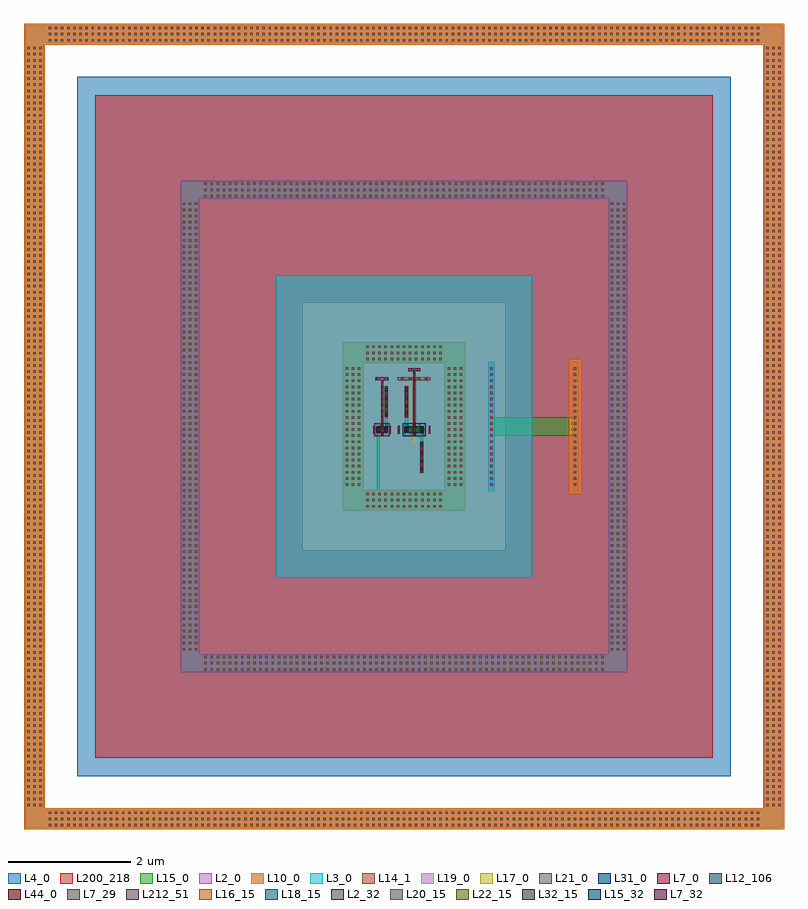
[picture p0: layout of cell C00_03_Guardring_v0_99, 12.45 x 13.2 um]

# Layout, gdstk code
import gdstk
lib = gdstk.Library(unit=1e-6, precision=1e-09)
def R(c, l, rs):  # rectangles x0, y0, x1, y1
    for r in rs: c.add(gdstk.rectangle(r[:2], r[2:], *l))
def A(c, l, x, y, w, h, nx, ny, dx, dy):  # array of equal rectangles
    R(c, l, [(x+i*dx, y+j*dy, x+i*dx+w, y+j*dy+h) for i in range(nx) for j in range(ny)])
L2_0 = (2, 0)
L2_32 = (2, 32)
L3_0 = (3, 0)
L4_0 = (4, 0)
L7_0 = (7, 0)
L7_29 = (7, 29)
L7_32 = (7, 32)
L10_0 = (10, 0)
L12_106 = (12, 106)
L14_1 = (14, 1)
L15_0 = (15, 0)
L15_32 = (15, 32)
L16_15 = (16, 15)
L17_0 = (17, 0)
L18_15 = (18, 15)
L19_0 = (19, 0)
L20_15 = (20, 15)
L21_0 = (21, 0)
L22_15 = (22, 15)
L31_0 = (31, 0)
L32_15 = (32, 15)
L44_0 = (44, 0)
L200_218 = (200, 218)
L212_51 = (212, 51)

c00_03_guardring_v0_99_s = lib.new_cell('C00_03_Guardring_v0_99:SRF_Tr1Tr2:SRF_Tr1:SRF_Nmos')
R(c00_03_guardring_v0_99_s, L2_0, [(-0.139,0.057,0.169,0.157)])
R(c00_03_guardring_v0_99_s, L2_32, [(-0.139,0.057,0,0.157), (0.03,0.057,0.169,0.157)])
R(c00_03_guardring_v0_99_s, L7_0, [(0,0,0.03,0.214), (-0.252,0.041,-0.222,0.173), (0.252,0.041,0.282,0.173)])
R(c00_03_guardring_v0_99_s, L7_29, [(-0.144,0.052,0.174,0.162)])
R(c00_03_guardring_v0_99_s, L7_32, [(0,0,0.03,0.057), (0,0.157,0.03,0.214)])
R(c00_03_guardring_v0_99_s, L12_106, [(-0.174,0.001,0.204,0.213)])
R(c00_03_guardring_v0_99_s, L14_1, [(-0.131,0.087,-0.091,0.127), (0.121,0.087,0.161,0.127)])
R(c00_03_guardring_v0_99_s, L15_0, [(-0.136,0.066,-0.086,0.148), (-0.136,0.066,-0.086,0.148), (0.116,0.066,0.166,0.148), (0.116,0.066,0.166,0.148)])
R(c00_03_guardring_v0_99_s, L15_32, [(-0.136,0.066,-0.086,0.148), (0.116,0.066,0.166,0.148)])

c_c00_03_guardring_v0_99_s = lib.new_cell('C00_03_Guardring_v0_99:SRF_Tr1Tr2:SRF_Tr1:SRF_Tr1_Source_ViaM1Mx:SRF_ViaM1M2')
R(c_c00_03_guardring_v0_99_s, L15_0, [(0,-0.422,0.05,0.082)])
A(c_c00_03_guardring_v0_99_s, L16_15, 0, -0.39, 0.05, 0.05, 1, 4, 0, 0.13)
R(c_c00_03_guardring_v0_99_s, L17_0, [(0,-0.422,0.05,0.082)])

c_c00_03_guardring_v0_99_s_ = lib.new_cell('C00_03_Guardring_v0_99:SRF_Tr1Tr2:SRF_Tr1:SRF_Tr1_Source_ViaM1Mx:SRF_ViaM2M3')
R(c_c00_03_guardring_v0_99_s_, L17_0, [(0,-0.422,0.05,0.082)])
A(c_c00_03_guardring_v0_99_s_, L18_15, 0, -0.39, 0.05, 0.05, 1, 4, 0, 0.13)
R(c_c00_03_guardring_v0_99_s_, L19_0, [(0,-0.422,0.05,0.082)])

c_c00_03_guardring_v0_99_s__ = lib.new_cell('C00_03_Guardring_v0_99:SRF_Tr1Tr2:SRF_Tr1:SRF_Tr1_Source_ViaM1Mx:SRF_ViaM3M4')
R(c_c00_03_guardring_v0_99_s__, L19_0, [(0,-0.422,0.05,0.082)])
A(c_c00_03_guardring_v0_99_s__, L20_15, 0, -0.39, 0.05, 0.05, 1, 4, 0, 0.13)
R(c_c00_03_guardring_v0_99_s__, L21_0, [(0,-0.422,0.05,0.082)])

c_c00_03_guardring_v0_99_s___ = lib.new_cell('C00_03_Guardring_v0_99:SRF_Tr1Tr2:SRF_Tr1:SRF_Tr1_Source_ViaM1Mx:SRF_ViaM4M5')
R(c_c00_03_guardring_v0_99_s___, L21_0, [(0,-0.422,0.05,0.082)])
A(c_c00_03_guardring_v0_99_s___, L22_15, 0, -0.39, 0.05, 0.05, 1, 4, 0, 0.13)
R(c_c00_03_guardring_v0_99_s___, L31_0, [(0,-0.422,0.05,0.082)])

c_c00_03_guardring_v0_99_s____ = lib.new_cell('C00_03_Guardring_v0_99:SRF_Tr1Tr2:SRF_Tr1:SRF_Tr1_Source_ViaM1Mx:SRF_ViaM5M6')
R(c_c00_03_guardring_v0_99_s____, L31_0, [(0,-0.422,0.05,0.082)])
A(c_c00_03_guardring_v0_99_s____, L32_15, 0, -0.39, 0.05, 0.05, 1, 4, 0, 0.13)
R(c_c00_03_guardring_v0_99_s____, L44_0, [(0,-0.422,0.05,0.082)])

c_c00_03_guardring_v0_99_s_____ = lib.new_cell('C00_03_Guardring_v0_99:SRF_Tr1Tr2:SRF_Tr1:SRF_Tr1_Source_ViaM1Mx')
c_c00_03_guardring_v0_99_s_____.add(gdstk.Reference(c_c00_03_guardring_v0_99_s, (-0.025,0.17)))
c_c00_03_guardring_v0_99_s_____.add(gdstk.Reference(c_c00_03_guardring_v0_99_s_, (-0.025,0.17)))
c_c00_03_guardring_v0_99_s_____.add(gdstk.Reference(c_c00_03_guardring_v0_99_s__, (-0.025,0.17)))
c_c00_03_guardring_v0_99_s_____.add(gdstk.Reference(c_c00_03_guardring_v0_99_s___, (-0.025,0.17)))
c_c00_03_guardring_v0_99_s_____.add(gdstk.Reference(c_c00_03_guardring_v0_99_s____, (-0.025,0.17)))

c_c00_03_guardring_v0_99_s______ = lib.new_cell('C00_03_Guardring_v0_99:SRF_Tr1Tr2:SRF_Tr1:SRF_Ground_ViaM1Mx:SRF_ViaM1M2')
R(c_c00_03_guardring_v0_99_s______, L15_0, [(-0.032,0,0.472,0.05)])
A(c_c00_03_guardring_v0_99_s______, L16_15, 0, 0, 0.05, 0.05, 4, 1, 0.13, 0)
R(c_c00_03_guardring_v0_99_s______, L17_0, [(-0.032,0,0.472,0.05)])

c_c00_03_guardring_v0_99_s_______ = lib.new_cell('C00_03_Guardring_v0_99:SRF_Tr1Tr2:SRF_Tr1:SRF_Ground_ViaM1Mx:SRF_ViaM2M3')
R(c_c00_03_guardring_v0_99_s_______, L17_0, [(-0.032,0,0.472,0.05)])
A(c_c00_03_guardring_v0_99_s_______, L18_15, 0, 0, 0.05, 0.05, 4, 1, 0.13, 0)
R(c_c00_03_guardring_v0_99_s_______, L19_0, [(-0.032,0,0.472,0.05)])

c_c00_03_guardring_v0_99_s________ = lib.new_cell('C00_03_Guardring_v0_99:SRF_Tr1Tr2:SRF_Tr1:SRF_Ground_ViaM1Mx:SRF_ViaM3M4')
R(c_c00_03_guardring_v0_99_s________, L19_0, [(-0.032,0,0.472,0.05)])
A(c_c00_03_guardring_v0_99_s________, L20_15, 0, 0, 0.05, 0.05, 4, 1, 0.13, 0)
R(c_c00_03_guardring_v0_99_s________, L21_0, [(-0.032,0,0.472,0.05)])

c_c00_03_guardring_v0_99_s_________ = lib.new_cell('C00_03_Guardring_v0_99:SRF_Tr1Tr2:SRF_Tr1:SRF_Ground_ViaM1Mx')
c_c00_03_guardring_v0_99_s_________.add(gdstk.Reference(c_c00_03_guardring_v0_99_s______, (-0.22,-0.025)))
c_c00_03_guardring_v0_99_s_________.add(gdstk.Reference(c_c00_03_guardring_v0_99_s_______, (-0.22,-0.025)))
c_c00_03_guardring_v0_99_s_________.add(gdstk.Reference(c_c00_03_guardring_v0_99_s________, (-0.22,-0.025)))

c_c00_03_guardring_v0_99_s__________ = lib.new_cell('C00_03_Guardring_v0_99:SRF_Tr1Tr2:SRF_Tr1:SRF_Gate_ViaM0M3:SRF_ViaM0M1')
R(c_c00_03_guardring_v0_99_s__________, L7_0, [(-0.01,-0.004,0.05,0.044)])
R(c_c00_03_guardring_v0_99_s__________, L14_1, [(0,0,0.04,0.04)])
R(c_c00_03_guardring_v0_99_s__________, L15_0, [(-0.021,-0.005,0.061,0.045)])

c_c00_03_guardring_v0_99_s___________ = lib.new_cell('C00_03_Guardring_v0_99:SRF_Tr1Tr2:SRF_Tr1:SRF_Gate_ViaM0M3:SRF_ViaM1M2')
R(c_c00_03_guardring_v0_99_s___________, L15_0, [(-0.032,0,0.082,0.05)])
R(c_c00_03_guardring_v0_99_s___________, L16_15, [(0,0,0.05,0.05)])
R(c_c00_03_guardring_v0_99_s___________, L17_0, [(-0.032,0,0.082,0.05)])

c_c00_03_guardring_v0_99_s____________ = lib.new_cell('C00_03_Guardring_v0_99:SRF_Tr1Tr2:SRF_Tr1:SRF_Gate_ViaM0M3:SRF_ViaM2M3')
R(c_c00_03_guardring_v0_99_s____________, L17_0, [(-0.032,0,0.082,0.05)])
R(c_c00_03_guardring_v0_99_s____________, L18_15, [(0,0,0.05,0.05)])
R(c_c00_03_guardring_v0_99_s____________, L19_0, [(-0.032,0,0.082,0.05)])

c_c00_03_guardring_v0_99_s_____________ = lib.new_cell('C00_03_Guardring_v0_99:SRF_Tr1Tr2:SRF_Tr1:SRF_Gate_ViaM0M3')
c_c00_03_guardring_v0_99_s_____________.add(gdstk.Reference(c_c00_03_guardring_v0_99_s__________, (-0.02,-0.02)))
c_c00_03_guardring_v0_99_s_____________.add(gdstk.Reference(c_c00_03_guardring_v0_99_s___________, (-0.025,-0.025)))
c_c00_03_guardring_v0_99_s_____________.add(gdstk.Reference(c_c00_03_guardring_v0_99_s____________, (-0.025,-0.025)))

c_c00_03_guardring_v0_99_s______________ = lib.new_cell('C00_03_Guardring_v0_99:SRF_Tr1Tr2:SRF_Tr1:SRF_Tr1_Drain_ViaM1Mx:SRF_ViaM1M2')
R(c_c00_03_guardring_v0_99_s______________, L15_0, [(0,-0.422,0.05,0.082)])
A(c_c00_03_guardring_v0_99_s______________, L16_15, 0, -0.39, 0.05, 0.05, 1, 4, 0, 0.13)
R(c_c00_03_guardring_v0_99_s______________, L17_0, [(0,-0.422,0.05,0.082)])

c_c00_03_guardring_v0_99_s_______________ = lib.new_cell('C00_03_Guardring_v0_99:SRF_Tr1Tr2:SRF_Tr1:SRF_Tr1_Drain_ViaM1Mx:SRF_ViaM2M3')
R(c_c00_03_guardring_v0_99_s_______________, L17_0, [(0,-0.422,0.05,0.082)])
A(c_c00_03_guardring_v0_99_s_______________, L18_15, 0, -0.39, 0.05, 0.05, 1, 4, 0, 0.13)
R(c_c00_03_guardring_v0_99_s_______________, L19_0, [(0,-0.422,0.05,0.082)])

c_c00_03_guardring_v0_99_s________________ = lib.new_cell('C00_03_Guardring_v0_99:SRF_Tr1Tr2:SRF_Tr1:SRF_Tr1_Drain_ViaM1Mx:SRF_ViaM3M4')
R(c_c00_03_guardring_v0_99_s________________, L19_0, [(0,-0.422,0.05,0.082)])
A(c_c00_03_guardring_v0_99_s________________, L20_15, 0, -0.39, 0.05, 0.05, 1, 4, 0, 0.13)
R(c_c00_03_guardring_v0_99_s________________, L21_0, [(0,-0.422,0.05,0.082)])

c_c00_03_guardring_v0_99_s_________________ = lib.new_cell('C00_03_Guardring_v0_99:SRF_Tr1Tr2:SRF_Tr1:SRF_Tr1_Drain_ViaM1Mx:SRF_ViaM4M5')
R(c_c00_03_guardring_v0_99_s_________________, L21_0, [(0,-0.422,0.05,0.082)])
A(c_c00_03_guardring_v0_99_s_________________, L22_15, 0, -0.39, 0.05, 0.05, 1, 4, 0, 0.13)
R(c_c00_03_guardring_v0_99_s_________________, L31_0, [(0,-0.422,0.05,0.082)])

c_c00_03_guardring_v0_99_s__________________ = lib.new_cell('C00_03_Guardring_v0_99:SRF_Tr1Tr2:SRF_Tr1:SRF_Tr1_Drain_ViaM1Mx:SRF_ViaM5M6')
R(c_c00_03_guardring_v0_99_s__________________, L31_0, [(0,-0.422,0.05,0.082)])
A(c_c00_03_guardring_v0_99_s__________________, L32_15, 0, -0.39, 0.05, 0.05, 1, 4, 0, 0.13)
R(c_c00_03_guardring_v0_99_s__________________, L44_0, [(0,-0.422,0.05,0.082)])

c_c00_03_guardring_v0_99_s___________________ = lib.new_cell('C00_03_Guardring_v0_99:SRF_Tr1Tr2:SRF_Tr1:SRF_Tr1_Drain_ViaM1Mx')
c_c00_03_guardring_v0_99_s___________________.add(gdstk.Reference(c_c00_03_guardring_v0_99_s______________, (-0.025,0.17)))
c_c00_03_guardring_v0_99_s___________________.add(gdstk.Reference(c_c00_03_guardring_v0_99_s_______________, (-0.025,0.17)))
c_c00_03_guardring_v0_99_s___________________.add(gdstk.Reference(c_c00_03_guardring_v0_99_s________________, (-0.025,0.17)))
c_c00_03_guardring_v0_99_s___________________.add(gdstk.Reference(c_c00_03_guardring_v0_99_s_________________, (-0.025,0.17)))
c_c00_03_guardring_v0_99_s___________________.add(gdstk.Reference(c_c00_03_guardring_v0_99_s__________________, (-0.025,0.17)))

c_c00_03_guardring_v0_99_s____________________ = lib.new_cell('C00_03_Guardring_v0_99:SRF_Tr1Tr2:SRF_Tr1')
R(c_c00_03_guardring_v0_99_s____________________, L7_0, [(0,0.214,0.03,1.064), (-0.085,1.064,0.115,1.114)])
R(c_c00_03_guardring_v0_99_s____________________, L15_0, [(0.116,-0.6,0.166,0.066), (-0.01,-0.1,0.04,0.914), (-0.136,0.148,-0.086,0.814), (-0.252,0.914,0.282,0.964)])
R(c_c00_03_guardring_v0_99_s____________________, L17_0, [(-0.01,-0.1,0.04,0.914)])
R(c_c00_03_guardring_v0_99_s____________________, L19_0, [(-0.01,-0.1,0.04,0.914), (-0.085,1.064,0.115,1.114)])
R(c_c00_03_guardring_v0_99_s____________________, L21_0, [(-0.252,0.914,0.282,0.964)])
c_c00_03_guardring_v0_99_s____________________.add(gdstk.Reference(c00_03_guardring_v0_99_s, (0,0)))
c_c00_03_guardring_v0_99_s____________________.add(gdstk.Reference(c_c00_03_guardring_v0_99_s_____, (-0.111,0.562)))
c_c00_03_guardring_v0_99_s____________________.add(gdstk.Reference(c_c00_03_guardring_v0_99_s_________, (0.015,0.939)))
c_c00_03_guardring_v0_99_s____________________.add(gdstk.Reference(c_c00_03_guardring_v0_99_s_____________, (0.015,1.089)))
c_c00_03_guardring_v0_99_s____________________.add(gdstk.Reference(c_c00_03_guardring_v0_99_s___________________, (0.141,-0.348)))

c_c00_03_guardring_v0_99_s_____________________ = lib.new_cell('C00_03_Guardring_v0_99:SRF_Tr1Tr2:SRF_Tr2:SRF_Nmos')
R(c_c00_03_guardring_v0_99_s_____________________, L2_0, [(-0.078,0.057,0.108,0.157)])
R(c_c00_03_guardring_v0_99_s_____________________, L2_32, [(-0.078,0.057,0,0.157), (0.03,0.057,0.108,0.157)])
R(c_c00_03_guardring_v0_99_s_____________________, L7_0, [(0,0,0.03,0.214), (-0.13,0.041,-0.1,0.173), (0.13,0.041,0.16,0.173)])
R(c_c00_03_guardring_v0_99_s_____________________, L7_29, [(-0.083,0.052,0.113,0.162)])
R(c_c00_03_guardring_v0_99_s_____________________, L7_32, [(0,0,0.03,0.057), (0,0.157,0.03,0.214)])
R(c_c00_03_guardring_v0_99_s_____________________, L14_1, [(-0.07,0.087,-0.03,0.127), (0.06,0.087,0.1,0.127)])
R(c_c00_03_guardring_v0_99_s_____________________, L15_0, [(-0.075,0.066,-0.025,0.148), (-0.075,0.066,-0.025,0.148), (0.055,0.066,0.105,0.148), (0.055,0.066,0.105,0.148)])
R(c_c00_03_guardring_v0_99_s_____________________, L15_32, [(-0.075,0.066,-0.025,0.148), (0.055,0.066,0.105,0.148)])
R(c_c00_03_guardring_v0_99_s_____________________, L212_51, [(-0.113,0.001,0.143,0.213)])

c_c00_03_guardring_v0_99_s______________________ = lib.new_cell('C00_03_Guardring_v0_99:SRF_Tr1Tr2:SRF_Tr2:SRF_Tr2_Drain_ViaM1Mx:SRF_ViaM1M2')
R(c_c00_03_guardring_v0_99_s______________________, L15_0, [(0,-0.422,0.05,0.082)])
A(c_c00_03_guardring_v0_99_s______________________, L16_15, 0, -0.39, 0.05, 0.05, 1, 4, 0, 0.13)
R(c_c00_03_guardring_v0_99_s______________________, L17_0, [(0,-0.422,0.05,0.082)])

c_c00_03_guardring_v0_99_s_______________________ = lib.new_cell('C00_03_Guardring_v0_99:SRF_Tr1Tr2:SRF_Tr2:SRF_Tr2_Drain_ViaM1Mx:SRF_ViaM2M3')
R(c_c00_03_guardring_v0_99_s_______________________, L17_0, [(0,-0.422,0.05,0.082)])
A(c_c00_03_guardring_v0_99_s_______________________, L18_15, 0, -0.39, 0.05, 0.05, 1, 4, 0, 0.13)
R(c_c00_03_guardring_v0_99_s_______________________, L19_0, [(0,-0.422,0.05,0.082)])

c_c00_03_guardring_v0_99_s________________________ = lib.new_cell('C00_03_Guardring_v0_99:SRF_Tr1Tr2:SRF_Tr2:SRF_Tr2_Drain_ViaM1Mx:SRF_ViaM3M4')
R(c_c00_03_guardring_v0_99_s________________________, L19_0, [(0,-0.422,0.05,0.082)])
A(c_c00_03_guardring_v0_99_s________________________, L20_15, 0, -0.39, 0.05, 0.05, 1, 4, 0, 0.13)
R(c_c00_03_guardring_v0_99_s________________________, L21_0, [(0,-0.422,0.05,0.082)])

c_c00_03_guardring_v0_99_s_________________________ = lib.new_cell('C00_03_Guardring_v0_99:SRF_Tr1Tr2:SRF_Tr2:SRF_Tr2_Drain_ViaM1Mx:SRF_ViaM4M5')
R(c_c00_03_guardring_v0_99_s_________________________, L21_0, [(0,-0.422,0.05,0.082)])
A(c_c00_03_guardring_v0_99_s_________________________, L22_15, 0, -0.39, 0.05, 0.05, 1, 4, 0, 0.13)
R(c_c00_03_guardring_v0_99_s_________________________, L31_0, [(0,-0.422,0.05,0.082)])

c_c00_03_guardring_v0_99_s__________________________ = lib.new_cell('C00_03_Guardring_v0_99:SRF_Tr1Tr2:SRF_Tr2:SRF_Tr2_Drain_ViaM1Mx:SRF_ViaM5M6')
R(c_c00_03_guardring_v0_99_s__________________________, L31_0, [(0,-0.422,0.05,0.082)])
A(c_c00_03_guardring_v0_99_s__________________________, L32_15, 0, -0.39, 0.05, 0.05, 1, 4, 0, 0.13)
R(c_c00_03_guardring_v0_99_s__________________________, L44_0, [(0,-0.422,0.05,0.082)])

c_c00_03_guardring_v0_99_s___________________________ = lib.new_cell('C00_03_Guardring_v0_99:SRF_Tr1Tr2:SRF_Tr2:SRF_Tr2_Drain_ViaM1Mx')
c_c00_03_guardring_v0_99_s___________________________.add(gdstk.Reference(c_c00_03_guardring_v0_99_s______________________, (-0.025,0.17)))
c_c00_03_guardring_v0_99_s___________________________.add(gdstk.Reference(c_c00_03_guardring_v0_99_s_______________________, (-0.025,0.17)))
c_c00_03_guardring_v0_99_s___________________________.add(gdstk.Reference(c_c00_03_guardring_v0_99_s________________________, (-0.025,0.17)))
c_c00_03_guardring_v0_99_s___________________________.add(gdstk.Reference(c_c00_03_guardring_v0_99_s_________________________, (-0.025,0.17)))
c_c00_03_guardring_v0_99_s___________________________.add(gdstk.Reference(c_c00_03_guardring_v0_99_s__________________________, (-0.025,0.17)))

c_c00_03_guardring_v0_99_s____________________________ = lib.new_cell('C00_03_Guardring_v0_99:SRF_Tr1Tr2:SRF_Tr2:SRF_Gate_ViaM0M3:SRF_ViaM0M1')
R(c_c00_03_guardring_v0_99_s____________________________, L7_0, [(-0.01,-0.004,0.15,0.044)])
R(c_c00_03_guardring_v0_99_s____________________________, L14_1, [(0,0,0.04,0.04), (0.1,0,0.14,0.04)])
R(c_c00_03_guardring_v0_99_s____________________________, L15_0, [(-0.021,-0.005,0.161,0.045)])

c_c00_03_guardring_v0_99_s_____________________________ = lib.new_cell('C00_03_Guardring_v0_99:SRF_Tr1Tr2:SRF_Tr2:SRF_Gate_ViaM0M3:SRF_ViaM1M2')
R(c_c00_03_guardring_v0_99_s_____________________________, L15_0, [(-0.032,0,0.212,0.05)])
R(c_c00_03_guardring_v0_99_s_____________________________, L16_15, [(0,0,0.05,0.05), (0.13,0,0.18,0.05)])
R(c_c00_03_guardring_v0_99_s_____________________________, L17_0, [(-0.032,0,0.212,0.05)])

c_c00_03_guardring_v0_99_s______________________________ = lib.new_cell('C00_03_Guardring_v0_99:SRF_Tr1Tr2:SRF_Tr2:SRF_Gate_ViaM0M3:SRF_ViaM2M3')
R(c_c00_03_guardring_v0_99_s______________________________, L17_0, [(-0.032,0,0.212,0.05)])
R(c_c00_03_guardring_v0_99_s______________________________, L18_15, [(0,0,0.05,0.05), (0.13,0,0.18,0.05)])
R(c_c00_03_guardring_v0_99_s______________________________, L19_0, [(-0.032,0,0.212,0.05)])

c_c00_03_guardring_v0_99_s_______________________________ = lib.new_cell('C00_03_Guardring_v0_99:SRF_Tr1Tr2:SRF_Tr2:SRF_Gate_ViaM0M3')
c_c00_03_guardring_v0_99_s_______________________________.add(gdstk.Reference(c_c00_03_guardring_v0_99_s____________________________, (-0.07,-0.02)))
c_c00_03_guardring_v0_99_s_______________________________.add(gdstk.Reference(c_c00_03_guardring_v0_99_s_____________________________, (-0.09,-0.025)))
c_c00_03_guardring_v0_99_s_______________________________.add(gdstk.Reference(c_c00_03_guardring_v0_99_s______________________________, (-0.09,-0.025)))

c_c00_03_guardring_v0_99_s________________________________ = lib.new_cell('C00_03_Guardring_v0_99:SRF_Tr1Tr2:SRF_Tr2')
R(c_c00_03_guardring_v0_99_s________________________________, L7_0, [(0,0.214,0.03,0.914), (-0.085,0.914,0.115,0.964)])
R(c_c00_03_guardring_v0_99_s________________________________, L15_0, [(0.055,0.148,0.105,0.814)])
R(c_c00_03_guardring_v0_99_s________________________________, L19_0, [(-0.085,0.914,0.115,0.964)])
c_c00_03_guardring_v0_99_s________________________________.add(gdstk.Reference(c_c00_03_guardring_v0_99_s_____________________, (0,0)))
c_c00_03_guardring_v0_99_s________________________________.add(gdstk.Reference(c_c00_03_guardring_v0_99_s___________________________, (0.08,0.562)))
c_c00_03_guardring_v0_99_s________________________________.add(gdstk.Reference(c_c00_03_guardring_v0_99_s_______________________________, (0.015,0.939)))

c_c00_03_guardring_v0_99_s_________________________________ = lib.new_cell('C00_03_Guardring_v0_99:SRF_Tr1Tr2')
c_c00_03_guardring_v0_99_s_________________________________.add(gdstk.Reference(c_c00_03_guardring_v0_99_s____________________, (0,0)))
c_c00_03_guardring_v0_99_s_________________________________.add(gdstk.Reference(c_c00_03_guardring_v0_99_s________________________________, (-0.526,0)))

c_c00_03_guardring_v0_99_s__________________________________ = lib.new_cell('C00_03_Guardring_v0_99:SRF_Pbodyring:SRF_PbodyTop:SRF_PbodyContactPhyLen')
R(c_c00_03_guardring_v0_99_s__________________________________, L2_0, [(-0.064,-0.23,1.304,0.07)])
R(c_c00_03_guardring_v0_99_s__________________________________, L10_0, [(-0.085,-0.251,1.325,0.091)])
A(c_c00_03_guardring_v0_99_s__________________________________, L14_1, 0, -0.2, 0.04, 0.04, 13, 3, 0.1, 0.1)
R(c_c00_03_guardring_v0_99_s__________________________________, L15_0, [(-0.064,-0.23,1.304,0.07)])

c_c00_03_guardring_v0_99_s___________________________________ = lib.new_cell('C00_03_Guardring_v0_99:SRF_Pbodyring:SRF_PbodyTop')
c_c00_03_guardring_v0_99_s___________________________________.add(gdstk.Reference(c_c00_03_guardring_v0_99_s__________________________________, (0,0)))

c_c00_03_guardring_v0_99_s____________________________________ = lib.new_cell('C00_03_Guardring_v0_99:SRF_Pbodyring:SRF_PbodyBottom:SRF_PbodyContactPhyLen')
R(c_c00_03_guardring_v0_99_s____________________________________, L2_0, [(-0.064,-0.23,1.304,0.07)])
R(c_c00_03_guardring_v0_99_s____________________________________, L10_0, [(-0.085,-0.251,1.325,0.091)])
A(c_c00_03_guardring_v0_99_s____________________________________, L14_1, 0, -0.2, 0.04, 0.04, 13, 3, 0.1, 0.1)
R(c_c00_03_guardring_v0_99_s____________________________________, L15_0, [(-0.064,-0.23,1.304,0.07)])

c_c00_03_guardring_v0_99_s_____________________________________ = lib.new_cell('C00_03_Guardring_v0_99:SRF_Pbodyring:SRF_PbodyBottom')
c_c00_03_guardring_v0_99_s_____________________________________.add(gdstk.Reference(c_c00_03_guardring_v0_99_s____________________________________, (0,0)))

c_c00_03_guardring_v0_99_s______________________________________ = lib.new_cell('C00_03_Guardring_v0_99:SRF_Pbodyring:SRF_PbodyLeft:SRF_PbodyContactPhyLen')
R(c_c00_03_guardring_v0_99_s______________________________________, L2_0, [(-0.03,-1.987,0.27,0.127)])
R(c_c00_03_guardring_v0_99_s______________________________________, L10_0, [(-0.051,-2.008,0.291,0.148)])
A(c_c00_03_guardring_v0_99_s______________________________________, L14_1, 0, -1.9, 0.04, 0.04, 3, 20, 0.1, 0.1)
R(c_c00_03_guardring_v0_99_s______________________________________, L15_0, [(-0.03,-1.987,0.27,0.127)])

c_c00_03_guardring_v0_99_s_______________________________________ = lib.new_cell('C00_03_Guardring_v0_99:SRF_Pbodyring:SRF_PbodyLeft')
c_c00_03_guardring_v0_99_s_______________________________________.add(gdstk.Reference(c_c00_03_guardring_v0_99_s______________________________________, (0,0)))

c_c00_03_guardring_v0_99_s________________________________________ = lib.new_cell('C00_03_Guardring_v0_99:SRF_Pbodyring:SRF_PbodyRight:SRF_PbodyContactPhyLen')
R(c_c00_03_guardring_v0_99_s________________________________________, L2_0, [(-0.03,-1.987,0.27,0.127)])
R(c_c00_03_guardring_v0_99_s________________________________________, L10_0, [(-0.051,-2.008,0.291,0.148)])
A(c_c00_03_guardring_v0_99_s________________________________________, L14_1, 0, -1.9, 0.04, 0.04, 3, 20, 0.1, 0.1)
R(c_c00_03_guardring_v0_99_s________________________________________, L15_0, [(-0.03,-1.987,0.27,0.127)])

c_c00_03_guardring_v0_99_s_________________________________________ = lib.new_cell('C00_03_Guardring_v0_99:SRF_Pbodyring:SRF_PbodyRight')
c_c00_03_guardring_v0_99_s_________________________________________.add(gdstk.Reference(c_c00_03_guardring_v0_99_s________________________________________, (0,0)))

c_c00_03_guardring_v0_99_s__________________________________________ = lib.new_cell('C00_03_Guardring_v0_99:SRF_Pbodyring')
R(c_c00_03_guardring_v0_99_s__________________________________________, L2_0, [(-0.364,-2.644,1.604,-2.344), (-0.364,-2.644,-0.064,0.07), (1.304,-2.644,1.604,0.07), (-0.364,-0.23,1.604,0.07)])
R(c_c00_03_guardring_v0_99_s__________________________________________, L10_0, [(-0.385,-2.665,1.625,-2.323), (-0.385,-2.665,-0.043,0.091), (1.283,-2.665,1.625,0.091), (-0.385,-0.251,1.625,0.091)])
R(c_c00_03_guardring_v0_99_s__________________________________________, L15_0, [(-0.364,-2.644,1.604,-2.344), (-0.364,-2.644,-0.064,0.07), (1.304,-2.644,1.604,0.07), (-0.364,-0.23,1.604,0.07)])
c_c00_03_guardring_v0_99_s__________________________________________.add(gdstk.Reference(c_c00_03_guardring_v0_99_s___________________________________, (0,0)))
c_c00_03_guardring_v0_99_s__________________________________________.add(gdstk.Reference(c_c00_03_guardring_v0_99_s_____________________________________, (0,-2.414)))
c_c00_03_guardring_v0_99_s__________________________________________.add(gdstk.Reference(c_c00_03_guardring_v0_99_s_______________________________________, (-0.334,-0.357)))
c_c00_03_guardring_v0_99_s__________________________________________.add(gdstk.Reference(c_c00_03_guardring_v0_99_s_________________________________________, (1.334,-0.357)))

c_c00_03_guardring_v0_99_s___________________________________________ = lib.new_cell('C00_03_Guardring_v0_99:SRF_Nbody_withinPIsolated:SRF_NbodyContactPhyLen')
R(c_c00_03_guardring_v0_99_s___________________________________________, L2_0, [(-0.03,-1.987,0.07,0.127)])
A(c_c00_03_guardring_v0_99_s___________________________________________, L14_1, 0, -1.9, 0.04, 0.04, 1, 20, 0, 0.1)
R(c_c00_03_guardring_v0_99_s___________________________________________, L15_0, [(-0.03,-1.987,0.07,0.127)])

c_c00_03_guardring_v0_99_s____________________________________________ = lib.new_cell('C00_03_Guardring_v0_99:SRF_Nbody_withinPIsolated')
c_c00_03_guardring_v0_99_s____________________________________________.add(gdstk.Reference(c_c00_03_guardring_v0_99_s___________________________________________, (0,0)))

c_c00_03_guardring_v0_99_s_____________________________________________ = lib.new_cell('C00_03_Guardring_v0_99:SRF_Nbodyring:SRF_NbodyTop:SRF_NbodyContactPhyLen')
R(c_c00_03_guardring_v0_99_s_____________________________________________, L2_0, [(-0.085,-0.23,6.625,0.07)])
R(c_c00_03_guardring_v0_99_s_____________________________________________, L4_0, [(-1.785,-1.93,8.325,1.77)])
A(c_c00_03_guardring_v0_99_s_____________________________________________, L14_1, 0, -0.2, 0.04, 0.04, 66, 3, 0.1, 0.1)
R(c_c00_03_guardring_v0_99_s_____________________________________________, L15_0, [(-0.085,-0.23,6.625,0.07)])

c_c00_03_guardring_v0_99_s______________________________________________ = lib.new_cell('C00_03_Guardring_v0_99:SRF_Nbodyring:SRF_NbodyTop')
c_c00_03_guardring_v0_99_s______________________________________________.add(gdstk.Reference(c_c00_03_guardring_v0_99_s_____________________________________________, (0,0)))

c_c00_03_guardring_v0_99_s_______________________________________________ = lib.new_cell('C00_03_Guardring_v0_99:SRF_Nbodyring:SRF_NbodyBottom:SRF_NbodyContactPhyLen')
R(c_c00_03_guardring_v0_99_s_______________________________________________, L2_0, [(-0.085,-0.23,6.625,0.07)])
R(c_c00_03_guardring_v0_99_s_______________________________________________, L4_0, [(-1.785,-1.93,8.325,1.77)])
A(c_c00_03_guardring_v0_99_s_______________________________________________, L14_1, 0, -0.2, 0.04, 0.04, 66, 3, 0.1, 0.1)
R(c_c00_03_guardring_v0_99_s_______________________________________________, L15_0, [(-0.085,-0.23,6.625,0.07)])

c_c00_03_guardring_v0_99_s________________________________________________ = lib.new_cell('C00_03_Guardring_v0_99:SRF_Nbodyring:SRF_NbodyBottom')
c_c00_03_guardring_v0_99_s________________________________________________.add(gdstk.Reference(c_c00_03_guardring_v0_99_s_______________________________________________, (0,0)))

c_c00_03_guardring_v0_99_s_________________________________________________ = lib.new_cell('C00_03_Guardring_v0_99:SRF_Nbodyring:SRF_NbodyLeft:SRF_NbodyContactPhyLen')
R(c_c00_03_guardring_v0_99_s_________________________________________________, L2_0, [(-0.03,-7.358,0.27,0.098)])
R(c_c00_03_guardring_v0_99_s_________________________________________________, L4_0, [(-1.73,-9.058,1.97,1.798)])
A(c_c00_03_guardring_v0_99_s_________________________________________________, L14_1, 0, -7.3, 0.04, 0.04, 3, 74, 0.1, 0.1)
R(c_c00_03_guardring_v0_99_s_________________________________________________, L15_0, [(-0.03,-7.358,0.27,0.098)])

c_c00_03_guardring_v0_99_s__________________________________________________ = lib.new_cell('C00_03_Guardring_v0_99:SRF_Nbodyring:SRF_NbodyLeft')
c_c00_03_guardring_v0_99_s__________________________________________________.add(gdstk.Reference(c_c00_03_guardring_v0_99_s_________________________________________________, (0,0)))

c_c00_03_guardring_v0_99_s___________________________________________________ = lib.new_cell('C00_03_Guardring_v0_99:SRF_Nbodyring:SRF_NbodyRight:SRF_NbodyContactPhyLen')
R(c_c00_03_guardring_v0_99_s___________________________________________________, L2_0, [(-0.03,-7.358,0.27,0.098)])
R(c_c00_03_guardring_v0_99_s___________________________________________________, L4_0, [(-1.73,-9.058,1.97,1.798)])
A(c_c00_03_guardring_v0_99_s___________________________________________________, L14_1, 0, -7.3, 0.04, 0.04, 3, 74, 0.1, 0.1)
R(c_c00_03_guardring_v0_99_s___________________________________________________, L15_0, [(-0.03,-7.358,0.27,0.098)])

c_c00_03_guardring_v0_99_s____________________________________________________ = lib.new_cell('C00_03_Guardring_v0_99:SRF_Nbodyring:SRF_NbodyRight')
c_c00_03_guardring_v0_99_s____________________________________________________.add(gdstk.Reference(c_c00_03_guardring_v0_99_s___________________________________________________, (0,0)))

c_c00_03_guardring_v0_99_s_____________________________________________________ = lib.new_cell('C00_03_Guardring_v0_99:SRF_Nbodyring')
R(c_c00_03_guardring_v0_99_s_____________________________________________________, L2_0, [(-0.385,-7.986,6.925,-7.686), (-0.385,-7.986,-0.085,0.07), (6.625,-7.986,6.925,0.07), (-0.385,-0.23,6.925,0.07)])
R(c_c00_03_guardring_v0_99_s_____________________________________________________, L4_0, [(-2.085,-9.686,8.625,-5.986), (-2.085,-9.686,1.615,1.77), (4.925,-9.686,8.625,1.77), (-2.085,-1.93,8.625,1.77)])
R(c_c00_03_guardring_v0_99_s_____________________________________________________, L15_0, [(-0.385,-7.986,6.925,-7.686), (-0.385,-7.986,-0.085,0.07), (6.625,-7.986,6.925,0.07), (-0.385,-0.23,6.925,0.07)])
c_c00_03_guardring_v0_99_s_____________________________________________________.add(gdstk.Reference(c_c00_03_guardring_v0_99_s______________________________________________, (0,0)))
c_c00_03_guardring_v0_99_s_____________________________________________________.add(gdstk.Reference(c_c00_03_guardring_v0_99_s________________________________________________, (0,-7.756)))
c_c00_03_guardring_v0_99_s_____________________________________________________.add(gdstk.Reference(c_c00_03_guardring_v0_99_s__________________________________________________, (-0.355,-0.328)))
c_c00_03_guardring_v0_99_s_____________________________________________________.add(gdstk.Reference(c_c00_03_guardring_v0_99_s____________________________________________________, (6.655,-0.328)))

c_c00_03_guardring_v0_99_s______________________________________________________ = lib.new_cell('C00_03_Guardring_v0_99:SRF_Pbody_withinNW:SRF_PbodyContactPhyLen')
R(c_c00_03_guardring_v0_99_s______________________________________________________, L2_0, [(-0.03,-1.987,0.07,0.127)])
R(c_c00_03_guardring_v0_99_s______________________________________________________, L10_0, [(-0.051,-2.008,0.091,0.148)])
A(c_c00_03_guardring_v0_99_s______________________________________________________, L14_1, 0, -1.9, 0.04, 0.04, 1, 20, 0, 0.1)
R(c_c00_03_guardring_v0_99_s______________________________________________________, L15_0, [(-0.03,-1.987,0.07,0.127)])

c_c00_03_guardring_v0_99_s_______________________________________________________ = lib.new_cell('C00_03_Guardring_v0_99:SRF_Pbody_withinNW')
c_c00_03_guardring_v0_99_s_______________________________________________________.add(gdstk.Reference(c_c00_03_guardring_v0_99_s______________________________________________________, (0,0)))

c_c00_03_guardring_v0_99_s________________________________________________________ = lib.new_cell('C00_03_Guardring_v0_99:SRF_Pbodyring2:SRF_PbodyTop:SRF_PbodyContactPhyLen')
R(c_c00_03_guardring_v0_99_s________________________________________________________, L2_0, [(-0.085,-0.23,11.725,0.07)])
R(c_c00_03_guardring_v0_99_s________________________________________________________, L10_0, [(-0.106,-0.251,11.746,0.091)])
A(c_c00_03_guardring_v0_99_s________________________________________________________, L14_1, 0, -0.2, 0.04, 0.04, 117, 3, 0.1, 0.1)
R(c_c00_03_guardring_v0_99_s________________________________________________________, L15_0, [(-0.085,-0.23,11.725,0.07)])

c_c00_03_guardring_v0_99_s_________________________________________________________ = lib.new_cell('C00_03_Guardring_v0_99:SRF_Pbodyring2:SRF_PbodyTop')
c_c00_03_guardring_v0_99_s_________________________________________________________.add(gdstk.Reference(c_c00_03_guardring_v0_99_s________________________________________________________, (0,0)))

c_c00_03_guardring_v0_99_s__________________________________________________________ = lib.new_cell('C00_03_Guardring_v0_99:SRF_Pbodyring2:SRF_PbodyBottom:SRF_PbodyContactPhyLen')
R(c_c00_03_guardring_v0_99_s__________________________________________________________, L2_0, [(-0.085,-0.23,11.725,0.07)])
R(c_c00_03_guardring_v0_99_s__________________________________________________________, L10_0, [(-0.106,-0.251,11.746,0.091)])
A(c_c00_03_guardring_v0_99_s__________________________________________________________, L14_1, 0, -0.2, 0.04, 0.04, 117, 3, 0.1, 0.1)
R(c_c00_03_guardring_v0_99_s__________________________________________________________, L15_0, [(-0.085,-0.23,11.725,0.07)])

c_c00_03_guardring_v0_99_s___________________________________________________________ = lib.new_cell('C00_03_Guardring_v0_99:SRF_Pbodyring2:SRF_PbodyBottom')
c_c00_03_guardring_v0_99_s___________________________________________________________.add(gdstk.Reference(c_c00_03_guardring_v0_99_s__________________________________________________________, (0,0)))

c_c00_03_guardring_v0_99_s____________________________________________________________ = lib.new_cell('C00_03_Guardring_v0_99:SRF_Pbodyring2:SRF_PbodyLeft:SRF_PbodyContactPhyLen')
R(c_c00_03_guardring_v0_99_s____________________________________________________________, L2_0, [(-0.03,-12.458,0.27,0.098)])
R(c_c00_03_guardring_v0_99_s____________________________________________________________, L10_0, [(-0.051,-12.479,0.291,0.119)])
A(c_c00_03_guardring_v0_99_s____________________________________________________________, L14_1, 0, -12.4, 0.04, 0.04, 3, 125, 0.1, 0.1)
R(c_c00_03_guardring_v0_99_s____________________________________________________________, L15_0, [(-0.03,-12.458,0.27,0.098)])

c_c00_03_guardring_v0_99_s_____________________________________________________________ = lib.new_cell('C00_03_Guardring_v0_99:SRF_Pbodyring2:SRF_PbodyLeft')
c_c00_03_guardring_v0_99_s_____________________________________________________________.add(gdstk.Reference(c_c00_03_guardring_v0_99_s____________________________________________________________, (0,0)))

c_c00_03_guardring_v0_99_s______________________________________________________________ = lib.new_cell('C00_03_Guardring_v0_99:SRF_Pbodyring2:SRF_PbodyRight:SRF_PbodyContactPhyLen')
R(c_c00_03_guardring_v0_99_s______________________________________________________________, L2_0, [(-0.03,-12.458,0.27,0.098)])
R(c_c00_03_guardring_v0_99_s______________________________________________________________, L10_0, [(-0.051,-12.479,0.291,0.119)])
A(c_c00_03_guardring_v0_99_s______________________________________________________________, L14_1, 0, -12.4, 0.04, 0.04, 3, 125, 0.1, 0.1)
R(c_c00_03_guardring_v0_99_s______________________________________________________________, L15_0, [(-0.03,-12.458,0.27,0.098)])

c_c00_03_guardring_v0_99_s_______________________________________________________________ = lib.new_cell('C00_03_Guardring_v0_99:SRF_Pbodyring2:SRF_PbodyRight')
c_c00_03_guardring_v0_99_s_______________________________________________________________.add(gdstk.Reference(c_c00_03_guardring_v0_99_s______________________________________________________________, (0,0)))

c_c00_03_guardring_v0_99_s________________________________________________________________ = lib.new_cell('C00_03_Guardring_v0_99:SRF_Pbodyring2')
R(c_c00_03_guardring_v0_99_s________________________________________________________________, L2_0, [(-0.385,-13.086,12.025,-12.786), (-0.385,-13.086,-0.085,0.07), (11.725,-13.086,12.025,0.07), (-0.385,-0.23,12.025,0.07)])
R(c_c00_03_guardring_v0_99_s________________________________________________________________, L10_0, [(-0.406,-13.107,12.046,-12.765), (-0.406,-13.107,-0.064,0.091), (11.704,-13.107,12.046,0.091), (-0.406,-0.251,12.046,0.091)])
R(c_c00_03_guardring_v0_99_s________________________________________________________________, L15_0, [(-0.385,-13.086,12.025,-12.786), (-0.385,-13.086,-0.085,0.07), (11.725,-13.086,12.025,0.07), (-0.385,-0.23,12.025,0.07)])
c_c00_03_guardring_v0_99_s________________________________________________________________.add(gdstk.Reference(c_c00_03_guardring_v0_99_s_________________________________________________________, (0,0)))
c_c00_03_guardring_v0_99_s________________________________________________________________.add(gdstk.Reference(c_c00_03_guardring_v0_99_s___________________________________________________________, (0,-12.856)))
c_c00_03_guardring_v0_99_s________________________________________________________________.add(gdstk.Reference(c_c00_03_guardring_v0_99_s_____________________________________________________________, (-0.355,-0.328)))
c_c00_03_guardring_v0_99_s________________________________________________________________.add(gdstk.Reference(c_c00_03_guardring_v0_99_s_______________________________________________________________, (11.755,-0.328)))

c00_03_guardring_v0_99 = lib.new_cell('C00_03_Guardring_v0_99')
R(c00_03_guardring_v0_99, L3_0, [(-2.257,-2.321,1.953,2.635)])
R(c00_03_guardring_v0_99, L10_0, [(2.547,-0.956,2.759,1.27)])
R(c00_03_guardring_v0_99, L15_0, [(-0.601,-0.9,-0.551,0.066), (1.232,0.007,2.703,0.307)])
R(c00_03_guardring_v0_99, L200_218, [(-5.207,-5.271,4.903,5.585)])
c00_03_guardring_v0_99.add(gdstk.Reference(c_c00_03_guardring_v0_99_s_________________________________, (0,0)))
c00_03_guardring_v0_99.add(gdstk.Reference(c_c00_03_guardring_v0_99_s__________________________________________, (-0.772,1.444)))
c00_03_guardring_v0_99.add(gdstk.Reference(c_c00_03_guardring_v0_99_s____________________________________________, (1.262,1.087)))
c00_03_guardring_v0_99.add(gdstk.Reference(c_c00_03_guardring_v0_99_s_____________________________________________________, (-3.422,4.115)))
c00_03_guardring_v0_99.add(gdstk.Reference(c_c00_03_guardring_v0_99_s_______________________________________________________, (2.633,1.087)))
c00_03_guardring_v0_99.add(gdstk.Reference(c_c00_03_guardring_v0_99_s________________________________________________________________, (-5.972,6.665)))

lib.write_gds('C00_03_Guardring_v0_99.gds')
